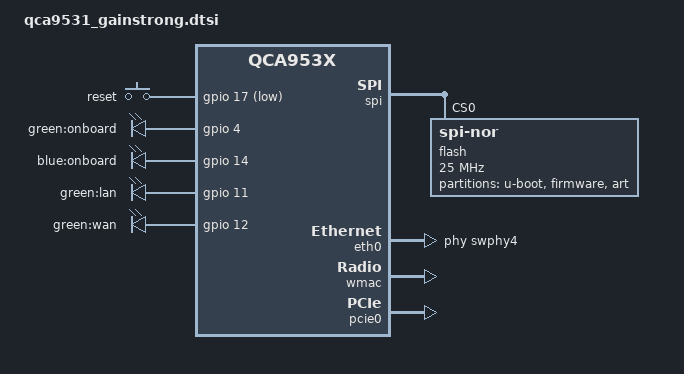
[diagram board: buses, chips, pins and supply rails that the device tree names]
// SPDX-License-Identifier: GPL-2.0-or-later OR MIT

#include "qca953x.dtsi"

#include <dt-bindings/gpio/gpio.h>
#include <dt-bindings/input/input.h>

/ {

	aliases {
		label-mac-device = &eth0;
		led-boot = &led_system;
		led-failsafe = &led_system;
		led-running = &led_system;
		led-upgrade = &led_system;
	};

// todo: LEDs and GPIOs needs to reconfirm, follow just a sample

	keys: keys {
		compatible = "gpio-keys";

		reset {
			label = "reset";
			linux,code = <KEY_RESTART>;
			gpios = <&gpio 17 GPIO_ACTIVE_LOW>;
			debounce-interval = <60>;
		};
	};

	leds: leds {
		compatible = "gpio-leds";

		green {
			label = "green:onboard";
			gpios = <&gpio 4 GPIO_ACTIVE_HIGH>;
		};

		led_system: blue {
			label = "blue:onboard";
			gpios = <&gpio 14 GPIO_ACTIVE_HIGH>;
		};

		lan {
			label = "green:lan";
			gpios = <&gpio 11 GPIO_ACTIVE_HIGH>;
		};

		wan {
			label = "green:wan";
			gpios = <&gpio 12 GPIO_ACTIVE_HIGH>;
		};

	};
};

&spi {
	status = "okay";

	flash@0 {
		compatible = "jedec,spi-nor";
		reg = <0>;
		spi-max-frequency = <25000000>;

		partitions: partitions {
			compatible = "fixed-partitions";
			#address-cells = <1>;
			#size-cells = <1>;

			uboot: partition@0 {
				label = "u-boot";
				reg = <0x000000 0x020000>;
				read-only;
			};

			firmware: partition@20000 {
				compatible = "tplink,firmware";
				label = "firmware";
				reg = <0x020000 0xfd0000>;
			};

			art: partition@ff0000 {
				label = "art";
				reg = <0xff0000 0x010000>;
				read-only;
			};
		};
	};
};

&eth0 {
	status = "okay";

	phy-handle = <&swphy4>;

	mtd-mac-address = <&art 0x1002>;
	mtd-mac-address-increment = <1>;
};

&eth1 {
	mtd-mac-address = <&art 0x1002>;
	mtd-mac-address-increment = <2>;
};

&wmac {
	status = "okay";

	mtd-cal-data = <&art 0x1000>;
};

&pcie0 {
	status = "okay";

	wifi@0,0 {
		reg = <0x0000 0 0 0 0>;
	};
};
